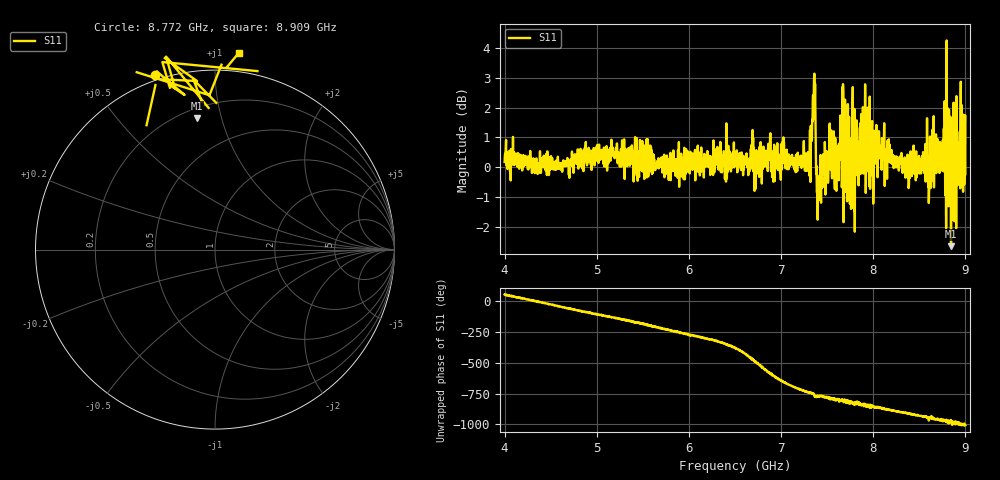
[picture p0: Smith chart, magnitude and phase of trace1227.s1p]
! Created with skrf 1.8.0 (http://scikit-rf.org).
# Hz S RI R 50.0
!freq ReS11 ImS11
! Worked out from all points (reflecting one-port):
!   1601 points, 4 GHz to 9 GHz, reference 50 ohm
!   lowest |S11| = -2.6 dB at 8.844 GHz (marker M1), VSWR 6.63, Z = 13 + j41.9 ohm
!   phase of S11 starts at 50 deg and turns -1056 deg over the sweep
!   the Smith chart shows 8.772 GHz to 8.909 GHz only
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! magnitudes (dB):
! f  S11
! 4 GHz  0.2
! 4.625 GHz  -0.1
! 5.25 GHz  0.0
! 5.875 GHz  -0.1
! 6.5 GHz  0.1
! 7.125 GHz  0.2
! 7.294 GHz  -0.1
! 7.347 GHz  2.4
! 7.369 GHz  2.8
! 7.4 GHz  -0.8
! 7.412 GHz  -0.8
! 7.522 GHz  0.6
! 7.606 GHz  -0.1
! 7.669 GHz  0.8
! 7.75 GHz  -0.1
! 7.775 GHz  2.0
! 7.8 GHz  -2.2
! 7.891 GHz  0.9
! 7.981 GHz  0.1
! 8.097 GHz  0.9
! 8.375 GHz  -0.1
! 8.612 GHz  0.0
! 8.775 GHz  2.2
! 8.844 GHz  -2.6
! 8.897 GHz  0.9
! 8.919 GHz  0.0
! 8.959 GHz  2.1
! 9 GHz  -0.2
